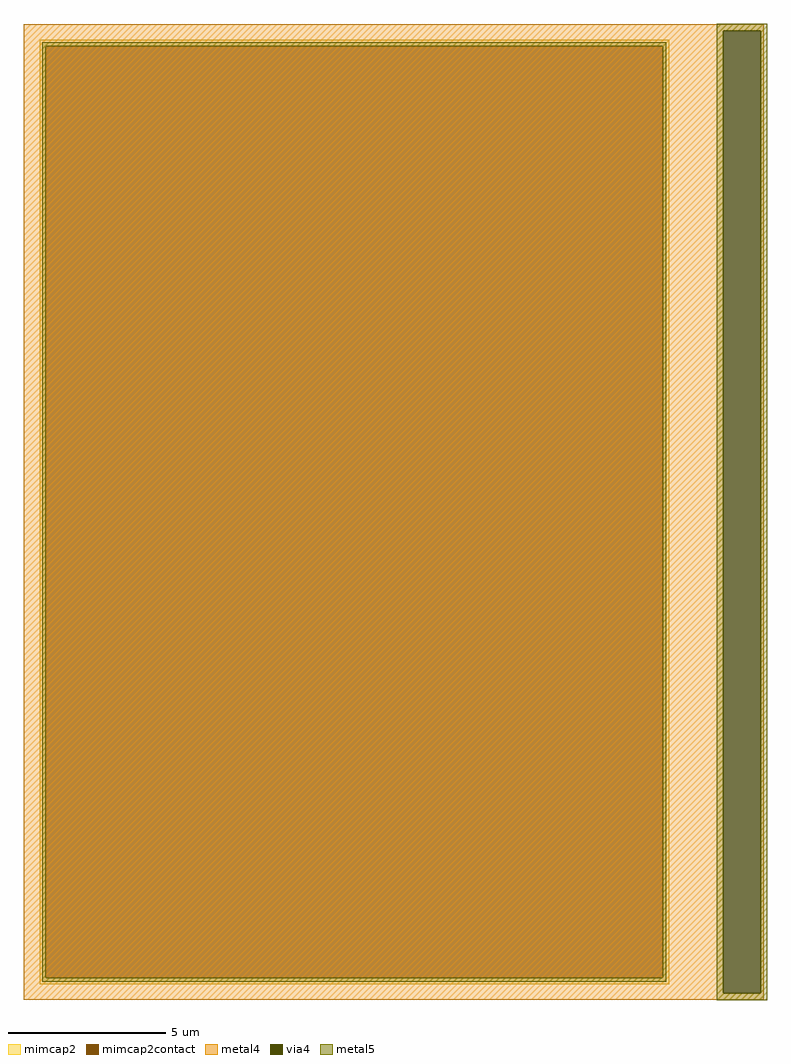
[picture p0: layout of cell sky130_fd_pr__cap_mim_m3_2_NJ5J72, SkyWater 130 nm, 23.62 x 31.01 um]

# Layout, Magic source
magic
tech sky130B
magscale 1 2
<< metal4 >>
rect -2351 3059 2351 3100
rect -2351 -3059 2095 3059
rect 2331 -3059 2351 3059
rect -2351 -3100 2351 -3059
<< via4 >>
rect 2095 -3059 2331 3059
<< mimcap2 >>
rect -2251 2960 1749 3000
rect -2251 -2960 -2211 2960
rect 1709 -2960 1749 2960
rect -2251 -3000 1749 -2960
<< mimcap2contact >>
rect -2211 -2960 1709 2960
<< metal5 >>
rect 2053 3059 2373 3101
rect -2235 2960 1733 2984
rect -2235 -2960 -2211 2960
rect 1709 -2960 1733 2960
rect -2235 -2984 1733 -2960
rect 2053 -3059 2095 3059
rect 2331 -3059 2373 3059
rect 2053 -3101 2373 -3059
<< properties >>
string FIXED_BBOX -2351 -3100 1849 3100
string gencell sky130_fd_pr__cap_mim_m3_2
string library sky130
string parameters w 20 l 30 val 1.219k carea 2.00 cperi 0.19 nx 1 ny 1 dummy 0 square 0 lmin 2.00 wmin 2.00 lmax 30.0 wmax 30.0 dc 0 bconnect 1 tconnect 1 ccov 100
<< end >>
